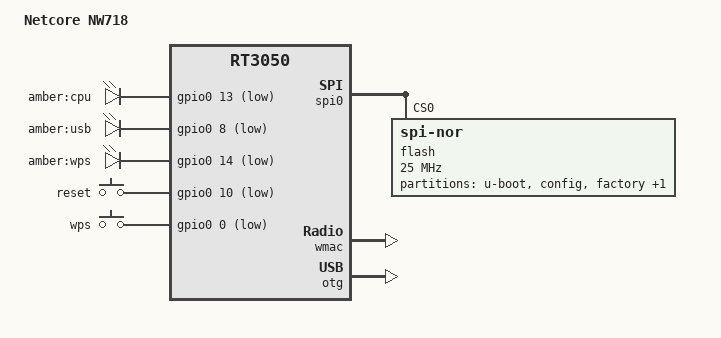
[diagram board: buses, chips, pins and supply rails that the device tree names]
#include "rt3050.dtsi"

#include <dt-bindings/gpio/gpio.h>
#include <dt-bindings/input/input.h>

/ {
	compatible = "netcore,nw718", "ralink,rt3050-soc";
	model = "Netcore NW718";

	aliases {
		led-boot = &led_cpu;
		led-failsafe = &led_cpu;
		led-running = &led_cpu;
		led-upgrade = &led_cpu;
	};

	leds {
		compatible = "gpio-leds";

		led_cpu: cpu {
			label = "amber:cpu";
			gpios = <&gpio0 13 GPIO_ACTIVE_LOW>;
		};

		usb {
			label = "amber:usb";
			gpios = <&gpio0 8 GPIO_ACTIVE_LOW>;
			trigger-sources = <&otg_port1>;
			linux,default-trigger = "usbport";
		};

		wps {
			label = "amber:wps";
			gpios = <&gpio0 14 GPIO_ACTIVE_LOW>;
		};
	};

	keys {
		compatible = "gpio-keys-polled";
		poll-interval = <20>;

		reset {
			label = "reset";
			gpios = <&gpio0 10 GPIO_ACTIVE_LOW>;
			linux,code = <KEY_RESTART>;
		};

		wps {
			label = "wps";
			gpios = <&gpio0 0 GPIO_ACTIVE_LOW>;
			linux,code = <KEY_WPS_BUTTON>;
		};
	};
};

&spi0 {
	status = "okay";

	flash@0 {
		compatible = "jedec,spi-nor";
		reg = <0>;
		spi-max-frequency = <25000000>;

		partitions {
			compatible = "fixed-partitions";
			#address-cells = <1>;
			#size-cells = <1>;

			partition@0 {
				label = "u-boot";
				reg = <0x0 0x30000>;
				read-only;
			};

			partition@30000 {
				label = "config";
				reg = <0x30000 0x20000>;
				read-only;
			};

			factory: partition@50000 {
				label = "factory";
				reg = <0x50000 0x10000>;
				read-only;
			};

			partition@60000 {
				compatible = "denx,uimage";
				label = "firmware";
				reg = <0x60000 0x3a0000>;
			};
		};
	};
};

&state_default {
	gpio {
		groups = "i2c", "jtag", "rgmii", "mdio", "uartf";
		function = "gpio";
	};
};

&ethernet {
	nvmem-cells = <&macaddr_factory_4>;
	nvmem-cell-names = "mac-address";
};

&esw {
	mediatek,portmap = <0x2f>;
};

&wmac {
	ralink,mtd-eeprom = <&factory 0x0>;
};

&otg {
	status = "okay";
};

&factory {
	compatible = "nvmem-cells";
	#address-cells = <1>;
	#size-cells = <1>;

	macaddr_factory_4: macaddr@4 {
		reg = <0x4 0x6>;
	};
};
